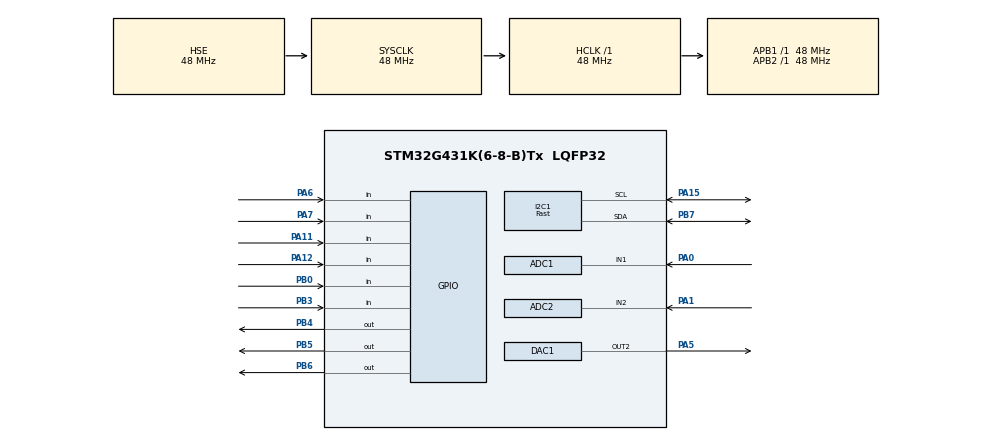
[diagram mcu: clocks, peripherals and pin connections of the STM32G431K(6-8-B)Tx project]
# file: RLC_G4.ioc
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ADC1.Channel-2\#ChannelRegularConversion=ADC_CHANNEL_1
ADC1.ClockPrescaler=ADC_CLOCK_SYNC_PCLK_DIV4
ADC1.ContinuousConvMode=DISABLE
ADC1.DMAContinuousRequests=DISABLE
ADC1.EnableRegularConversion=ENABLE
ADC1.ExternalTrigConv=ADC_SOFTWARE_START
ADC1.NbrOfConversion=1
ADC1.NbrOfConversionFlag=1
ADC1.OffsetNumber-2\#ChannelRegularConversion=ADC_OFFSET_NONE
ADC1.Rank-2\#ChannelRegularConversion=1
ADC1.SamplingTime-2\#ChannelRegularConversion=ADC_SAMPLETIME_6CYCLES_5
ADC1.master=1
ADC2.Channel-2\#ChannelRegularConversion=ADC_CHANNEL_2
ADC2.ClockPrescaler=ADC_CLOCK_SYNC_PCLK_DIV4
ADC2.EnableRegularConversion=ENABLE
ADC2.ExternalTrigConv=ADC_SOFTWARE_START
ADC2.NbrOfConversion=1
ADC2.NbrOfConversionFlag=1
ADC2.OffsetNumber-2\#ChannelRegularConversion=ADC_OFFSET_NONE
ADC2.Rank-2\#ChannelRegularConversion=1
ADC2.SamplingTime-2\#ChannelRegularConversion=ADC_SAMPLETIME_6CYCLES_5
DAC1.DAC_Channel-DAC_OUT2=DAC_CHANNEL_2
DAC1.DAC_HighFrequency_OUT2-DAC_OUT2=DAC_HIGH_FREQUENCY_INTERFACE_MODE_DISABLE
DAC1.DAC_SampleAndHold-DAC_OUT2=DAC_SAMPLEANDHOLD_DISABLE
DAC1.DAC_Trigger_OUT2-DAC_OUT2=DAC_TRIGGER_T2_TRGO
Dma.DAC1_CH2.0.Direction=DMA_MEMORY_TO_PERIPH
Dma.DAC1_CH2.0.EventEnable=DISABLE
Dma.DAC1_CH2.0.Instance=DMA1_Channel2
Dma.DAC1_CH2.0.MemDataAlignment=DMA_MDATAALIGN_WORD
Dma.DAC1_CH2.0.MemInc=DMA_MINC_ENABLE
Dma.DAC1_CH2.0.Mode=DMA_CIRCULAR
Dma.DAC1_CH2.0.PeriphDataAlignment=DMA_PDATAALIGN_WORD
Dma.DAC1_CH2.0.PeriphInc=DMA_PINC_DISABLE
Dma.DAC1_CH2.0.Polarity=HAL_DMAMUX_REQ_GEN_RISING
Dma.DAC1_CH2.0.Priority=DMA_PRIORITY_HIGH
Dma.DAC1_CH2.0.RequestNumber=1
Dma.DAC1_CH2.0.SignalID=NONE
Dma.DAC1_CH2.0.SyncEnable=DISABLE
Dma.DAC1_CH2.0.SyncPolarity=HAL_DMAMUX_SYNC_NO_EVENT
Dma.DAC1_CH2.0.SyncRequestNumber=1
Dma.DAC1_CH2.0.SyncSignalID=NONE
Dma.Request0=DAC1_CH2
I2C1.I2C_Speed_Mode=I2C_Fast
I2C1.Timing=0x2010091A
Mcu.Family=STM32G4
Mcu.Name=STM32G431K(6-8-B)Tx
Mcu.Package=LQFP32
NVIC.DMA1_Channel2_IRQn=true\:0\:0\:false\:false\:true\:false\:true\:true
NVIC.PriorityGroup=NVIC_PRIORITYGROUP_4
NVIC.TIM3_IRQn=true\:0\:0\:false\:false\:true\:true\:true\:true
PA0.Mode=IN1-Single-Ended
PA0.Signal=ADC1_IN1
PA1.Mode=IN2-Single-Ended
PA1.Signal=ADC2_IN2
PA11.GPIO_PuPd=GPIO_PULLDOWN
PA11.Signal=GPIO_Input
PA12.GPIO_PuPd=GPIO_PULLDOWN
PA12.Signal=GPIO_Input
PA13.Signal=SYS_JTMS-SWDIO
PA14.Signal=SYS_JTCK-SWCLK
PA15.Mode=I2C
PA15.Signal=I2C1_SCL
PA5.Signal=COMP_DAC12_group
PA6.GPIO_PuPd=GPIO_PULLDOWN
PA6.Signal=GPIO_Input
PA7.GPIO_PuPd=GPIO_PULLDOWN
PA7.Signal=GPIO_Input
PB0.GPIO_PuPd=GPIO_PULLDOWN
PB0.Signal=GPIO_Input
PB3.GPIO_PuPd=GPIO_PULLDOWN
PB3.Signal=GPIO_Input
PB4.Signal=GPIO_Output
PB5.Signal=GPIO_Output
PB6.Signal=GPIO_Output
PB7.Mode=I2C
PB7.Signal=I2C1_SDA
PF0-OSC_IN.Mode=HSE-External-Oscillator
PF0-OSC_IN.Signal=RCC_OSC_IN
PF1-OSC_OUT.Mode=HSE-External-Oscillator
PF1-OSC_OUT.Signal=RCC_OSC_OUT
ProjectManager.HeapSize=0x200
ProjectManager.StackSize=0x400
ProjectManager.TargetToolchain=STM32CubeIDE
RCC.ADC12Freq_Value=48000000
RCC.AHBFreq_Value=48000000
RCC.APB1Freq_Value=48000000
RCC.APB1TimFreq_Value=48000000
RCC.APB2Freq_Value=48000000
RCC.APB2TimFreq_Value=48000000
RCC.CortexFreq_Value=48000000
RCC.EXTERNAL_CLOCK_VALUE=12288000
RCC.HCLKFreq_Value=48000000
RCC.HSE_VALUE=48000000
RCC.HSI48_VALUE=48000000
RCC.HSI_VALUE=16000000
RCC.LSE_VALUE=32768
RCC.PLLSourceVirtual=RCC_PLLSOURCE_HSE
RCC.SYSCLKFreq_VALUE=48000000
RCC.SYSCLKSource=RCC_SYSCLKSOURCE_HSE
RCC.USBFreq_Value=192000000
RCC.VCOOutputFreq_Value=384000000
SH.COMP_DAC12_group.0=DAC1_OUT2,DAC_OUT2
TIM2.AutoReloadPreload=TIM_AUTORELOAD_PRELOAD_ENABLE
TIM2.PeriodNoDither=24
TIM2.Prescaler=4
TIM2.TIM_MasterOutputTrigger=TIM_TRGO_UPDATE
TIM3.AutoReloadPreload=TIM_AUTORELOAD_PRELOAD_ENABLE
TIM3.PeriodNoDither=479
TIM3.TIM_MasterOutputTrigger=TIM_TRGO_UPDATE
VP_TIM2_VS_ClockSourceINT.Mode=Internal
VP_TIM3_VS_ClockSourceINT.Mode=Internal
VP_TIM4_VS_ClockSourceINT.Mode=Internal
board=custom

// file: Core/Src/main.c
/* USER CODE BEGIN Header */
/**
  ******************************************************************************
  * @file           : main.c
  * @brief          : Main program body
  ******************************************************************************
  * @attention
  *
  * Copyright (c) 2023 STMicroelectronics.
  * All rights reserved.
  *
  * This software is licensed under terms that can be found in the LICENSE file
  * in the root directory of this software component.
  * If no LICENSE file comes with this software, it is provided AS-IS.
  *
  ******************************************************************************
  */
/* USER CODE END Header */
#include "main.h"

/* USER CODE BEGIN Includes */
#include "fonts.h"  //oled
#include "ssd1306.h" //oled
#include "test.h"  //oled
#include "math.h"

/* USER CODE END Includes */

/* USER CODE BEGIN PD */

//DAC sine wave sample points

#define NS  128

uint32_t Wave_LUT[NS] = {
    2048, 2149, 2250, 2350, 2450, 2549, 2646, 2742, 2837, 2929, 3020, 3108, 3193, 3275, 3355,
    3431, 3504, 3574, 3639, 3701, 3759, 3812, 3861, 3906, 3946, 3982, 4013, 4039, 4060, 4076,
    4087, 4094, 4095, 4091, 4082, 4069, 4050, 4026, 3998, 3965, 3927, 3884, 3837, 3786, 3730,
    3671, 3607, 3539, 3468, 3394, 3316, 3235, 3151, 3064, 2975, 2883, 2790, 2695, 2598, 2500,
    2400, 2300, 2199, 2098, 1997, 1896, 1795, 1695, 1595, 1497, 1400, 1305, 1212, 1120, 1031,
    944, 860, 779, 701, 627, 556, 488, 424, 365, 309, 258, 211, 168, 130, 97,
    69, 45, 26, 13, 4, 0, 1, 8, 19, 35, 56, 82, 113, 149, 189,
    234, 283, 336, 394, 456, 521, 591, 664, 740, 820, 902, 987, 1075, 1166, 1258,
    1353, 1449, 1546, 1645, 1745, 1845, 1946, 2047
};

/* USER CODE END PD */

ADC_HandleTypeDef hadc1;
ADC_HandleTypeDef hadc2;

DAC_HandleTypeDef hdac1;
DMA_HandleTypeDef hdma_dac1_ch2;

I2C_HandleTypeDef hi2c1;

TIM_HandleTypeDef htim2;
TIM_HandleTypeDef htim3;
TIM_HandleTypeDef htim4;

/* USER CODE BEGIN PV */
int fSine = 50; //DAC sine frequency
int Rn = 100;  //shunt resistance

int R = 27;   //measured resistance
int X = 0;   //measured reactance

int V1 = 0; //measured voltage1
int V2 = 0; //measured voltage2

uint32_t V1_avg=0;  //DC offset

uint32_t V1_sum=0;
uint32_t V2_sum=0;

float V1_rms=0;			//calculated voltage1 rms
float V2_rms =0;  		//calculated voltage2 rms

uint32_t samples = 0; //sample count

int flag = 0; //flag = 1 for TIM3 interrupt

uint32_t V1_t,V2_t;

/* USER CODE END PV */

void SystemClock_Config(void);
static void MX_GPIO_Init(void);
static void MX_DMA_Init(void);
static void MX_I2C1_Init(void);
static void MX_DAC1_Init(void);
static void MX_TIM2_Init(void);
static void MX_ADC1_Init(void);
static void MX_TIM3_Init(void);
static void MX_ADC2_Init(void);
static void MX_TIM4_Init(void);

int main(void)
{

  /* MCU Configuration--------------------------------------------------------*/

  /* Reset of all peripherals, Initializes the Flash interface and the Systick. */
  HAL_Init();

  /* Configure the system clock */
  SystemClock_Config();

  /* Initialize all configured peripherals */
  MX_GPIO_Init();
  MX_DMA_Init();
  MX_I2C1_Init();
  MX_DAC1_Init();
  MX_TIM2_Init();
  MX_ADC1_Init();
  MX_TIM3_Init();
  MX_ADC2_Init();
  MX_TIM4_Init();
  /* USER CODE BEGIN 2 */

  //starting timers
  HAL_TIM_Base_Start(&htim2);
  HAL_TIM_Base_Start_IT(&htim3);
  HAL_TIM_Base_Start(&htim4);

  //starting adc
  HAL_ADC_Start(&hadc1);
  HAL_ADC_Start(&hadc2);

  //starting dac dma sine wave generation
  HAL_DAC_Start_DMA(&hdac1, DAC_CHANNEL_2, (uint32_t*)Wave_LUT, 128, DAC_ALIGN_12B_R);

  //oled initialization
  SSD1306_Init();

  //adc calibration
  HAL_ADCEx_Calibration_Start(&hadc1, ADC_SINGLE_ENDED);
  HAL_ADCEx_Calibration_Start(&hadc2, ADC_SINGLE_ENDED);

  int oled(void)
  {

	 //defining buffers
	 char R_buffer[10];
	 sprintf(R_buffer,"%d",R);
	 char X_buffer[10];
	 sprintf(X_buffer,"%d",X);

	 //converting to char and sending to oled
	 SSD1306_Clear ();
	 SSD1306_GotoXY (0,0);
	 SSD1306_Puts ("|Z|=", &Font_11x18, 1);
	 SSD1306_GotoXY (50,0);
	 SSD1306_Puts (R_buffer, &Font_11x18, 1);
	 SSD1306_GotoXY (0,20);
	 SSD1306_Puts ("V1=", &Font_11x18, 1);
	 SSD1306_GotoXY (30,20);
	 SSD1306_Puts (X_buffer, &Font_11x18, 1);

	 //writing shunt resistance and sine frequency

	 //sine wave
	 SSD1306_GotoXY (0,40);

	 if(fSine == 5000){
	 SSD1306_Puts ("5kHz", &Font_11x18, 1);
	 }
	 else if(fSine == 1000){
		 SSD1306_Puts ("1kHz", &Font_11x18, 1);
	 }
	 else if (fSine == 50){
		 SSD1306_Puts ("50Hz", &Font_11x18, 1);
	 }

	 //shunt resistance
	 SSD1306_GotoXY (50,40);

	 if(Rn == 10000){
	 SSD1306_Puts ("10kOhm", &Font_11x18, 1);
	 }
	 else if(Rn==1000){
		 SSD1306_Puts ("1kOhm", &Font_11x18, 1);
	 }
	 else if(Rn==100){
	 		 SSD1306_Puts ("100Ohm", &Font_11x18, 1);
	 	 }

	 //displaying new data
	 SSD1306_UpdateScreen();

  }

  int rangeSelection(void)
  {
	  //selecting sine frequency

	  //50Hz
	  if(HAL_GPIO_ReadPin(GPIOA, GPIO_PIN_11)== GPIO_PIN_SET){

		  __HAL_TIM_SET_AUTORELOAD(&htim2,1499);	//DAC timers frequency
		  __HAL_TIM_SET_AUTORELOAD(&htim3,47999);	//tim3 frequency for adc conversion = 1kHz

		  fSine = 50;
	  }
	  //5kHz
	  else if(HAL_GPIO_ReadPin(GPIOB, GPIO_PIN_3)== GPIO_PIN_SET){

		 __HAL_TIM_SET_AUTORELOAD(&htim2, 14); 		//DAC timers frequency
		 __HAL_TIM_SET_AUTORELOAD(&htim3,319); 		//tim3 frequency for adc conversion = 150kHz

		  fSine = 5000;
	  }
	  //1kHz
	  else{

		 __HAL_TIM_SET_AUTORELOAD(&htim2,74); 		//DAC timers frequency
		 __HAL_TIM_SET_AUTORELOAD(&htim3,2399);		//tim3 frequency for adc conversion = 20kHz

		  fSine = 1000;
	  }

	  //selecting shunt resistance

	  //100 Ohm
	  if(HAL_GPIO_ReadPin(GPIOA, GPIO_PIN_6)== GPIO_PIN_SET){
		  Rn = 100;
		  HAL_GPIO_WritePin(GPIOB, GPIO_PIN_5 ,GPIO_PIN_RESET);
		  HAL_GPIO_WritePin(GPIOB, GPIO_PIN_4 ,GPIO_PIN_RESET);
		  HAL_GPIO_WritePin(GPIOB, GPIO_PIN_6 ,GPIO_PIN_SET);
	  	  }

	  //10kOhm
	  else if(HAL_GPIO_ReadPin(GPIOB, GPIO_PIN_0)== GPIO_PIN_SET){
		  Rn = 10000;
		  HAL_GPIO_WritePin(GPIOB, GPIO_PIN_5 ,GPIO_PIN_RESET);
		  HAL_GPIO_WritePin(GPIOB, GPIO_PIN_6 ,GPIO_PIN_RESET);
		  HAL_GPIO_WritePin(GPIOB, GPIO_PIN_4 ,GPIO_PIN_SET);
	  	  }

	  //1kohm
	  else{
		  Rn = 1000;
		  HAL_GPIO_WritePin(GPIOB, GPIO_PIN_6 ,GPIO_PIN_RESET);
		  HAL_GPIO_WritePin(GPIOB, GPIO_PIN_4 ,GPIO_PIN_RESET);
		  HAL_GPIO_WritePin(GPIOB, GPIO_PIN_5 ,GPIO_PIN_SET);
	  	  }
  }

  int getDCOffset(void){

	  while(samples<(1000)){

	 	if(flag == 1){  							 //flag =1 -> TIM3 interrupt

	 		V1 = HAL_ADC_GetValue(&hadc1); 			 //ADC1 Read

	 		V1_sum = V1_sum+V1;
	 		samples = samples+1;

	 		HAL_ADC_Start(&hadc1);					//starting another adc conversion

	 		flag = 0;								//reseting flag
	 		  }
	 	  }

	 	  V1_avg = V1_sum/samples;					//Calculating DC Offset based on V1
	 	  samples = 0;
	 	  V1_sum = 0;

  }

  int getRMSValue(void){

	  while(samples<(1000)){
		  if(flag == 1){ 							//flag =1 -> TIM3 interrupt

		  	V2 = HAL_ADC_GetValue(&hadc2)-V1_avg;	//ADC2 Read
		  	V1 = HAL_ADC_GetValue(&hadc1)-V1_avg;	//ADC1 Read

		  	V1_sum = V1_sum+V1*V1; 					//summing squares
		  	V2_sum = V2_sum+V2*V2;
		  	samples = samples+1;

		  	HAL_ADC_Start(&hadc2);					//starting another adc conversion
		  	HAL_ADC_Start(&hadc1);

		  	flag =0;								//reseting flag
		  	  }
		  }

		  V1_rms = sqrtf(V1_sum/samples);			//calculating rms values
		  V2_rms = sqrtf(V2_sum/samples);

		  V1_sum = 0;
		  V2_sum = 0;
		  samples = 0;
  }

 int getPhase(void){

	 while(samples<(1000)){
	 		  if(flag == 1){ 							//flag =1 -> TIM3 interrupt

	 		  	V2 = HAL_ADC_GetValue(&hadc2)-V1_avg;	//ADC2 Read
	 		  	V1 = HAL_ADC_GetValue(&hadc1)-V1_avg;	//ADC1 Read

	 		  	if(V1==0){
	 		  	V1_t=__HAL_TIM_GetCounter(&htim4);
	 		  	}
	 		  	if(V2==0){
	 		  	V2_t=__HAL_TIM_GetCounter(&htim4);
	 		  	}

	 		  	samples = samples+1;

	 		  	HAL_ADC_Start(&hadc2);					//starting another adc conversion
	 		  	HAL_ADC_Start(&hadc1);

	 		  	flag =0;								//reseting flag
	 		  	  }
	 		  }

	 	 	 Phase = V2_t - V1_t;

	 		  samples = 0;

 }
  /* USER CODE END 2 */

  /* Infinite loop */
  /* USER CODE BEGIN WHILE */
  while (1)
  {
	  rangeSelection();

	  getDCOffset();

	  getRMSValue();

	  R =V1_rms;
	  X = V2_rms;

	  oled();

	 HAL_Delay (2000);
    /* USER CODE END WHILE */

  }
}

void SystemClock_Config(void)
{
  RCC_OscInitTypeDef RCC_OscInitStruct = {0};
  RCC_ClkInitTypeDef RCC_ClkInitStruct = {0};

  /** Configure the main internal regulator output voltage
  */
  HAL_PWREx_ControlVoltageScaling(PWR_REGULATOR_VOLTAGE_SCALE1);

  /** Initializes the RCC Oscillators according to the specified parameters
  * in the RCC_OscInitTypeDef structure.
  */
  RCC_OscInitStruct.OscillatorType = RCC_OSCILLATORTYPE_HSE;
  RCC_OscInitStruct.HSEState = RCC_HSE_ON;
  RCC_OscInitStruct.PLL.PLLState = RCC_PLL_NONE;
  if (HAL_RCC_OscConfig(&RCC_OscInitStruct) != HAL_OK)
  {
    Error_Handler();
  }

  /** Initializes the CPU, AHB and APB buses clocks
  */
  RCC_ClkInitStruct.ClockType = RCC_CLOCKTYPE_HCLK|RCC_CLOCKTYPE_SYSCLK
                              |RCC_CLOCKTYPE_PCLK1|RCC_CLOCKTYPE_PCLK2;
  RCC_ClkInitStruct.SYSCLKSource = RCC_SYSCLKSOURCE_HSE;
  RCC_ClkInitStruct.AHBCLKDivider = RCC_SYSCLK_DIV1;
  RCC_ClkInitStruct.APB1CLKDivider = RCC_HCLK_DIV1;
  RCC_ClkInitStruct.APB2CLKDivider = RCC_HCLK_DIV1;

  if (HAL_RCC_ClockConfig(&RCC_ClkInitStruct, FLASH_LATENCY_1) != HAL_OK)
  {
    Error_Handler();
  }
}

static void MX_ADC1_Init(void)
{

  ADC_MultiModeTypeDef multimode = {0};
  ADC_ChannelConfTypeDef sConfig = {0};

  /** Common config
  */
  hadc1.Instance = ADC1;
  hadc1.Init.ClockPrescaler = ADC_CLOCK_SYNC_PCLK_DIV4;
  hadc1.Init.Resolution = ADC_RESOLUTION_12B;
  hadc1.Init.DataAlign = ADC_DATAALIGN_RIGHT;
  hadc1.Init.GainCompensation = 0;
  hadc1.Init.ScanConvMode = ADC_SCAN_DISABLE;
  hadc1.Init.EOCSelection = ADC_EOC_SINGLE_CONV;
  hadc1.Init.LowPowerAutoWait = DISABLE;
  hadc1.Init.ContinuousConvMode = DISABLE;
  hadc1.Init.NbrOfConversion = 1;
  hadc1.Init.DiscontinuousConvMode = DISABLE;
  hadc1.Init.ExternalTrigConv = ADC_SOFTWARE_START;
  hadc1.Init.ExternalTrigConvEdge = ADC_EXTERNALTRIGCONVEDGE_NONE;
  hadc1.Init.DMAContinuousRequests = DISABLE;
  hadc1.Init.Overrun = ADC_OVR_DATA_PRESERVED;
  hadc1.Init.OversamplingMode = DISABLE;
  if (HAL_ADC_Init(&hadc1) != HAL_OK)
  {
    Error_Handler();
  }

  /** Configure the ADC multi-mode
  */
  multimode.Mode = ADC_MODE_INDEPENDENT;
  if (HAL_ADCEx_MultiModeConfigChannel(&hadc1, &multimode) != HAL_OK)
  {
    Error_Handler();
  }

  /** Configure Regular Channel
  */
  sConfig.Channel = ADC_CHANNEL_1;
  sConfig.Rank = ADC_REGULAR_RANK_1;
  sConfig.SamplingTime = ADC_SAMPLETIME_6CYCLES_5;
  sConfig.SingleDiff = ADC_SINGLE_ENDED;
  sConfig.OffsetNumber = ADC_OFFSET_NONE;
  sConfig.Offset = 0;
  if (HAL_ADC_ConfigChannel(&hadc1, &sConfig) != HAL_OK)
  {
    Error_Handler();
  }

}

static void MX_ADC2_Init(void)
{

  ADC_ChannelConfTypeDef sConfig = {0};

  /** Common config
  */
  hadc2.Instance = ADC2;
  hadc2.Init.ClockPrescaler = ADC_CLOCK_SYNC_PCLK_DIV4;
  hadc2.Init.Resolution = ADC_RESOLUTION_12B;
  hadc2.Init.DataAlign = ADC_DATAALIGN_RIGHT;
  hadc2.Init.GainCompensation = 0;
  hadc2.Init.ScanConvMode = ADC_SCAN_DISABLE;
  hadc2.Init.EOCSelection = ADC_EOC_SINGLE_CONV;
  hadc2.Init.LowPowerAutoWait = DISABLE;
  hadc2.Init.ContinuousConvMode = DISABLE;
  hadc2.Init.NbrOfConversion = 1;
  hadc2.Init.DiscontinuousConvMode = DISABLE;
  hadc2.Init.ExternalTrigConv = ADC_SOFTWARE_START;
  hadc2.Init.ExternalTrigConvEdge = ADC_EXTERNALTRIGCONVEDGE_NONE;
  hadc2.Init.DMAContinuousRequests = DISABLE;
  hadc2.Init.Overrun = ADC_OVR_DATA_PRESERVED;
  hadc2.Init.OversamplingMode = DISABLE;
  if (HAL_ADC_Init(&hadc2) != HAL_OK)
  {
    Error_Handler();
  }

  /** Configure Regular Channel
  */
  sConfig.Channel = ADC_CHANNEL_2;
  sConfig.Rank = ADC_REGULAR_RANK_1;
  sConfig.SamplingTime = ADC_SAMPLETIME_6CYCLES_5;
  sConfig.SingleDiff = ADC_SINGLE_ENDED;
  sConfig.OffsetNumber = ADC_OFFSET_NONE;
  sConfig.Offset = 0;
  if (HAL_ADC_ConfigChannel(&hadc2, &sConfig) != HAL_OK)
  {
    Error_Handler();
  }

}

static void MX_DAC1_Init(void)
{

  DAC_ChannelConfTypeDef sConfig = {0};

  /** DAC Initialization
  */
  hdac1.Instance = DAC1;
  if (HAL_DAC_Init(&hdac1) != HAL_OK)
  {
    Error_Handler();
  }

  /** DAC channel OUT2 config
  */
  sConfig.DAC_HighFrequency = DAC_HIGH_FREQUENCY_INTERFACE_MODE_AUTOMATIC;
  sConfig.DAC_DMADoubleDataMode = DISABLE;
  sConfig.DAC_SignedFormat = DISABLE;
  sConfig.DAC_SampleAndHold = DAC_SAMPLEANDHOLD_DISABLE;
  sConfig.DAC_Trigger = DAC_TRIGGER_T2_TRGO;
  sConfig.DAC_Trigger2 = DAC_TRIGGER_NONE;
  sConfig.DAC_OutputBuffer = DAC_OUTPUTBUFFER_ENABLE;
  sConfig.DAC_ConnectOnChipPeripheral = DAC_CHIPCONNECT_EXTERNAL;
  sConfig.DAC_UserTrimming = DAC_TRIMMING_FACTORY;
  if (HAL_DAC_ConfigChannel(&hdac1, &sConfig, DAC_CHANNEL_2) != HAL_OK)
  {
    Error_Handler();
  }

}

static void MX_I2C1_Init(void)
{

  hi2c1.Instance = I2C1;
  hi2c1.Init.Timing = 0x2010091A;
  hi2c1.Init.OwnAddress1 = 0;
  hi2c1.Init.AddressingMode = I2C_ADDRESSINGMODE_7BIT;
  hi2c1.Init.DualAddressMode = I2C_DUALADDRESS_DISABLE;
  hi2c1.Init.OwnAddress2 = 0;
  hi2c1.Init.OwnAddress2Masks = I2C_OA2_NOMASK;
  hi2c1.Init.GeneralCallMode = I2C_GENERALCALL_DISABLE;
  hi2c1.Init.NoStretchMode = I2C_NOSTRETCH_DISABLE;
  if (HAL_I2C_Init(&hi2c1) != HAL_OK)
  {
    Error_Handler();
  }

  /** Configure Analogue filter
  */
  if (HAL_I2CEx_ConfigAnalogFilter(&hi2c1, I2C_ANALOGFILTER_ENABLE) != HAL_OK)
  {
    Error_Handler();
  }

  /** Configure Digital filter
  */
  if (HAL_I2CEx_ConfigDigitalFilter(&hi2c1, 0) != HAL_OK)
  {
    Error_Handler();
  }

}

static void MX_TIM2_Init(void)
{

  TIM_ClockConfigTypeDef sClockSourceConfig = {0};
  TIM_MasterConfigTypeDef sMasterConfig = {0};

  htim2.Instance = TIM2;
  htim2.Init.Prescaler = 4;
  htim2.Init.CounterMode = TIM_COUNTERMODE_UP;
  htim2.Init.Period = 24;
  htim2.Init.ClockDivision = TIM_CLOCKDIVISION_DIV1;
  htim2.Init.AutoReloadPreload = TIM_AUTORELOAD_PRELOAD_ENABLE;
  if (HAL_TIM_Base_Init(&htim2) != HAL_OK)
  {
    Error_Handler();
  }
  sClockSourceConfig.ClockSource = TIM_CLOCKSOURCE_INTERNAL;
  if (HAL_TIM_ConfigClockSource(&htim2, &sClockSourceConfig) != HAL_OK)
  {
    Error_Handler();
  }
  sMasterConfig.MasterOutputTrigger = TIM_TRGO_UPDATE;
  sMasterConfig.MasterSlaveMode = TIM_MASTERSLAVEMODE_DISABLE;
  if (HAL_TIMEx_MasterConfigSynchronization(&htim2, &sMasterConfig) != HAL_OK)
  {
    Error_Handler();
  }

}

static void MX_TIM3_Init(void)
{

  TIM_ClockConfigTypeDef sClockSourceConfig = {0};
  TIM_MasterConfigTypeDef sMasterConfig = {0};

  htim3.Instance = TIM3;
  htim3.Init.Prescaler = 0;
  htim3.Init.CounterMode = TIM_COUNTERMODE_UP;
  htim3.Init.Period = 479;
  htim3.Init.ClockDivision = TIM_CLOCKDIVISION_DIV1;
  htim3.Init.AutoReloadPreload = TIM_AUTORELOAD_PRELOAD_ENABLE;
  if (HAL_TIM_Base_Init(&htim3) != HAL_OK)
  {
    Error_Handler();
  }
  sClockSourceConfig.ClockSource = TIM_CLOCKSOURCE_INTERNAL;
  if (HAL_TIM_ConfigClockSource(&htim3, &sClockSourceConfig) != HAL_OK)
  {
    Error_Handler();
  }
  sMasterConfig.MasterOutputTrigger = TIM_TRGO_UPDATE;
  sMasterConfig.MasterSlaveMode = TIM_MASTERSLAVEMODE_DISABLE;
  if (HAL_TIMEx_MasterConfigSynchronization(&htim3, &sMasterConfig) != HAL_OK)
  {
    Error_Handler();
  }

}

static void MX_TIM4_Init(void)
{

  TIM_ClockConfigTypeDef sClockSourceConfig = {0};
  TIM_MasterConfigTypeDef sMasterConfig = {0};

  htim4.Instance = TIM4;
  htim4.Init.Prescaler = 0;
  htim4.Init.CounterMode = TIM_COUNTERMODE_UP;
  htim4.Init.Period = 65535;
  htim4.Init.ClockDivision = TIM_CLOCKDIVISION_DIV1;
  htim4.Init.AutoReloadPreload = TIM_AUTORELOAD_PRELOAD_DISABLE;
  if (HAL_TIM_Base_Init(&htim4) != HAL_OK)
  {
    Error_Handler();
  }
  sClockSourceConfig.ClockSource = TIM_CLOCKSOURCE_INTERNAL;
  if (HAL_TIM_ConfigClockSource(&htim4, &sClockSourceConfig) != HAL_OK)
  {
    Error_Handler();
  }
  sMasterConfig.MasterOutputTrigger = TIM_TRGO_RESET;
  sMasterConfig.MasterSlaveMode = TIM_MASTERSLAVEMODE_DISABLE;
  if (HAL_TIMEx_MasterConfigSynchronization(&htim4, &sMasterConfig) != HAL_OK)
  {
    Error_Handler();
  }

}

static void MX_DMA_Init(void)
{

  /* DMA controller clock enable */
  __HAL_RCC_DMAMUX1_CLK_ENABLE();
  __HAL_RCC_DMA1_CLK_ENABLE();

  /* DMA interrupt init */
  /* DMA1_Channel2_IRQn interrupt configuration */
  HAL_NVIC_SetPriority(DMA1_Channel2_IRQn, 0, 0);
  HAL_NVIC_EnableIRQ(DMA1_Channel2_IRQn);

}

static void MX_GPIO_Init(void)
{
  GPIO_InitTypeDef GPIO_InitStruct = {0};

  /* GPIO Ports Clock Enable */
  __HAL_RCC_GPIOF_CLK_ENABLE();
  __HAL_RCC_GPIOA_CLK_ENABLE();
  __HAL_RCC_GPIOB_CLK_ENABLE();

  /*Configure GPIO pin Output Level */
  HAL_GPIO_WritePin(GPIOB, GPIO_PIN_4|GPIO_PIN_5|GPIO_PIN_6, GPIO_PIN_RESET);

  /*Configure GPIO pins : PA6 PA7 PA11 PA12 */
  GPIO_InitStruct.Pin = GPIO_PIN_6|GPIO_PIN_7|GPIO_PIN_11|GPIO_PIN_12;
  GPIO_InitStruct.Mode = GPIO_MODE_INPUT;
  GPIO_InitStruct.Pull = GPIO_PULLDOWN;
  HAL_GPIO_Init(GPIOA, &GPIO_InitStruct);

  /*Configure GPIO pins : PB0 PB3 */
  GPIO_InitStruct.Pin = GPIO_PIN_0|GPIO_PIN_3;
  GPIO_InitStruct.Mode = GPIO_MODE_INPUT;
  GPIO_InitStruct.Pull = GPIO_PULLDOWN;
  HAL_GPIO_Init(GPIOB, &GPIO_InitStruct);

  /*Configure GPIO pins : PB4 PB5 PB6 */
  GPIO_InitStruct.Pin = GPIO_PIN_4|GPIO_PIN_5|GPIO_PIN_6;
  GPIO_InitStruct.Mode = GPIO_MODE_OUTPUT_PP;
  GPIO_InitStruct.Pull = GPIO_NOPULL;
  GPIO_InitStruct.Speed = GPIO_SPEED_FREQ_LOW;
  HAL_GPIO_Init(GPIOB, &GPIO_InitStruct);

}

/* USER CODE BEGIN 4 */
void HAL_TIM_PeriodElapsedCallback(TIM_HandleTypeDef* htim)
{
	flag =1;

}
/* USER CODE END 4 */

void Error_Handler(void)
{
  __disable_irq();
  while (1)
  {
  }
}
